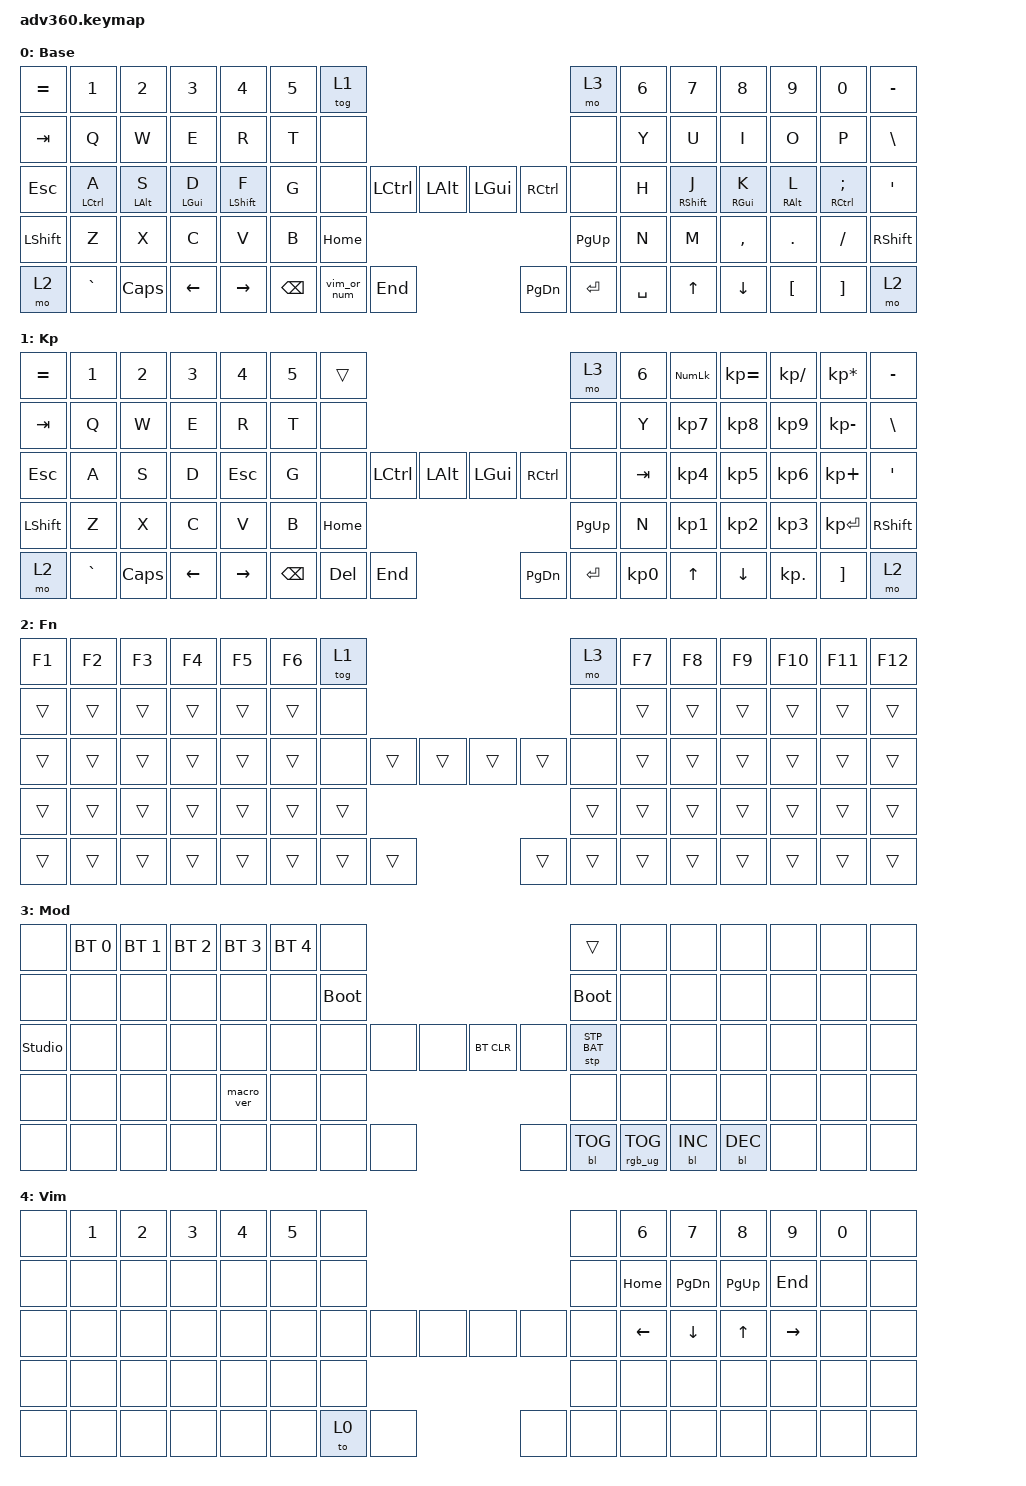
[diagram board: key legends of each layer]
#include <behaviors.dtsi>
#include <dt-bindings/zmk/keys.h>
#include <dt-bindings/zmk/bt.h>
#include <dt-bindings/zmk/rgb.h>
#include <dt-bindings/zmk/stp.h>
#include <dt-bindings/zmk/backlight.h>
#include <dt-bindings/zmk/pointing.h>

/ {
    behaviors {
      #include "macros.dtsi"
      #include "version.dtsi"

      // Left-hand home row mods (triggers on right-hand keys)
      hml: homerow_mods_left {
          compatible = "zmk,behavior-hold-tap";
          label = "HOMEROW_MODS_LEFT";
          #binding-cells = <2>;
          tapping-term-ms = <200>;
          quick-tap-ms = <175>;
          require-prior-idle-ms = <250>;
          flavor = "balanced";
          bindings = <&kp>, <&kp>;
          hold-trigger-key-positions = <6 7 13 14 15 16 17 18 19 20 21 22 23 24 25 26 27 28 29 30 31 32 33 34 35 36 37 38 39 40 41 42 43 44 45 46 47 48 49 50 51 52 53 54 55 56 57 58 59 60 61 62 63 64 65 66 67 68 69>;
          hold-trigger-on-release;
      };

      // Right-hand home row mods (triggers on left-hand keys)
      hmr: homerow_mods_right {
          compatible = "zmk,behavior-hold-tap";
          label = "HOMEROW_MODS_RIGHT";
          #binding-cells = <2>;
          tapping-term-ms = <200>;
          quick-tap-ms = <175>;
          require-prior-idle-ms = <250>;
          flavor = "balanced";
          bindings = <&kp>, <&kp>;
          hold-trigger-key-positions = <0 1 2 3 4 5 6 7 8 9 10 11 12 13 14 15 16 17 18 19 20 21 22 23 24 25 26 27 28 29 30 31 32 33 34 35 36 37 38 39 40 41 42 43>;
          hold-trigger-on-release;
      };

      // Vim-or-numpad: press alone = momentary Vim layer (4),
      //                Alt held + press = momentary keypad layer (1)
      vim_or_num: vim_or_num {
          compatible = "zmk,behavior-mod-morph";
          #binding-cells = <0>;
          bindings = <&mo 4>, <&mo 1>;
          mods = <(MOD_LALT|MOD_RALT)>;
      };
    };

  keymap {
    compatible = "zmk,keymap";

    default_layer {
      display-name = "Base";
      bindings = <
        &kp EQUAL &kp N1    &kp N2   &kp N3   &kp N4           &kp N5 &tog 1                                                                       &mo 3 &kp N6 &kp N7         &kp N8    &kp N9        &kp N0           &kp MINUS
        &kp TAB   &kp Q     &kp W    &kp E    &kp R            &kp T  &none                                                                        &none &kp Y  &kp U          &kp I     &kp O         &kp P            &kp BSLH
        &kp ESC   &hml LCTRL A &hml LALT S &hml LGUI D &hml LSHFT F &kp G  &none           &kp LCTRL &kp LALT &kp LGUI  &kp RCTRL           &none &kp H  &hmr RSHFT J   &hmr RGUI K &hmr RALT L   &hmr RCTRL SEMI  &kp SQT
        &kp LSHFT &kp Z     &kp X    &kp C    &kp V            &kp B                                &kp HOME &kp PG_UP                                   &kp N  &kp M          &kp COMMA &kp DOT       &kp FSLH         &kp RSHFT
        &mo 2     &kp GRAVE &kp CAPS &kp LEFT &kp RIGHT                      &kp BSPC &vim_or_num &kp END  &kp PG_DN &kp ENTER &kp SPACE                &kp UP         &kp DOWN  &kp LBKT      &kp RBKT         &mo 2
      >;
    };
    keypad {
      display-name = "Kp";
      bindings = <
        &kp EQUAL &kp N1    &kp N2   &kp N3   &kp N4     &kp N5 &trans                                                           &mo 3 &kp N6 &kp KP_NUM &kp KP_EQUAL &kp KP_DIVIDE &kp KP_MULTIPLY &kp MINUS
        &kp TAB   &kp Q     &kp W    &kp E    &kp R      &kp T  &none                                                            &none &kp Y  &kp KP_N7  &kp KP_N8    &kp KP_N9     &kp KP_MINUS    &kp BSLH
        &kp ESC   &kp A     &kp S    &kp D    &kp ESC    &kp G  &none           &kp LCTRL &kp LALT &kp LGUI  &kp RCTRL           &none &kp TAB  &kp KP_N4  &kp KP_N5    &kp KP_N6     &kp KP_PLUS     &kp SQT
        &kp LSHFT &kp Z     &kp X    &kp C    &kp V      &kp B                            &kp HOME &kp PG_UP                           &kp N  &kp KP_N1  &kp KP_N2    &kp KP_N3     &kp KP_ENTER    &kp RSHFT
        &mo 2     &kp GRAVE &kp CAPS &kp LEFT &kp RIGHT                &kp BSPC &kp DEL   &kp END  &kp PG_DN &kp ENTER &kp KP_N0              &kp UP     &kp DOWN     &kp KP_DOT    &kp RBKT        &mo 2
      >;
    };
    fn {
      display-name = "Fn";
      bindings = <
        &kp F1 &kp F2 &kp F3 &kp F4 &kp F5 &kp F6 &tog 1                                           &mo 3 &kp F7 &kp F8 &kp F9 &kp F10 &kp F11 &kp F12
        &trans &trans &trans &trans &trans &trans  &none                                           &none &trans &trans &trans &trans  &trans  &trans
        &trans &trans &trans &trans &trans &trans  &none        &trans &trans &trans &trans        &none &trans &trans &trans &trans  &trans  &trans
        &trans &trans &trans &trans &trans &trans                      &trans &trans                     &trans &trans &trans &trans  &trans  &trans
        &trans &trans &trans &trans &trans               &trans &trans &trans &trans &trans &trans              &trans &trans &trans  &trans  &trans
      >;
    };
    mod {
      display-name = "Mod";
      bindings = <
        &none &bt BT_SEL 0 &bt BT_SEL 1 &bt BT_SEL 2 &bt BT_SEL 3 &bt BT_SEL 4 &none                                                                     &trans                 &none        &none        &none        &none &none &none
        &none &none        &none        &none        &none        &none        &bootloader                                                               &bootloader            &none        &none        &none        &none &none &none
        &studio_unlock &none        &none        &none        &none        &none        &none                   &none &none &bt BT_CLR &none                      &stp STP_BAT &none        &none        &none        &none &none &none
        &none &none        &none        &none        &macro_ver   &none                                      &none &none                                                        &none        &none        &none        &none &none &none
        &none &none        &none        &none        &none                                       &none &none &none &none      &bl BL_TOG &rgb_ug RGB_TOG                                     &bl BL_INC   &bl BL_DEC   &none &none &none
      >;
    };
    normal {
      display-name = "Vim";
      bindings = <
        &none         &kp N1     &kp N2     &kp N3     &kp N4     &kp N5     &none                                                           &none &kp N6     &kp N7     &kp N8     &kp N9     &kp N0     &none
        &none         &none      &none      &none      &none      &none      &none                                                           &none &kp HOME   &kp PG_DN  &kp PG_UP  &kp END    &none      &none
        &none         &none      &none      &none      &none      &none      &none           &none     &none    &none     &none              &none &kp LEFT &kp DOWN &kp UP &kp RIGHT &none &none
        &none         &none      &none      &none      &none      &none                                &none    &none                              &none      &none      &none      &none      &none      &none
        &none         &none      &none      &none      &none                       &none     &to 0     &none    &none     &none     &none                     &none      &none      &none      &none      &none
      >;
    };

    extra2 { 
      display-name = "Purple";    
      status = "reserved";
    };

    extra3 { 
      display-name = "Cyan";    
      status = "reserved";
    };

    extra4 { 
      display-name = "Yellow";    
      status = "reserved";
    };
  };
};
